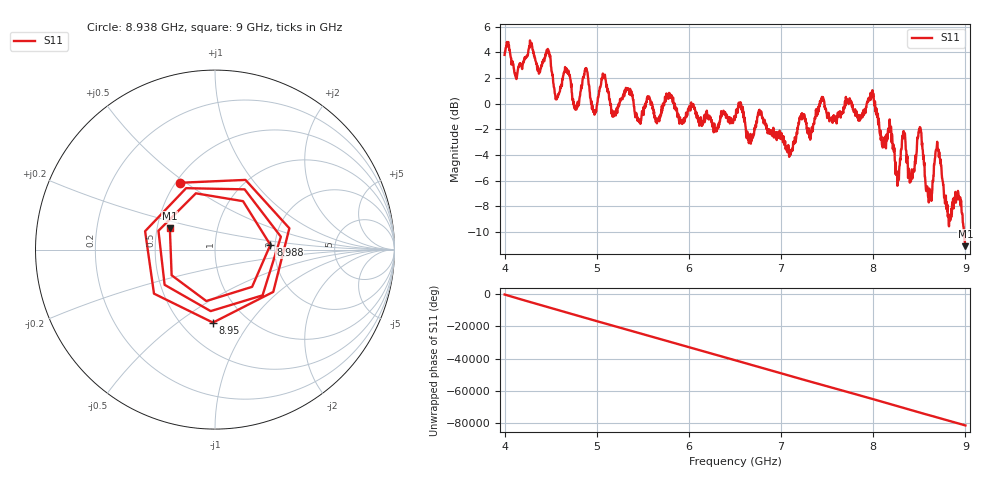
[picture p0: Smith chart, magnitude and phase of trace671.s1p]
! Created with skrf 1.8.0 (http://scikit-rf.org).
# Hz S RI R 50.0
!freq ReS11 ImS11
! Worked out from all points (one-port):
!   1601 points, 4 GHz to 9 GHz, reference 50 ohm
!   lowest |S11| = -11.1 dB at 9 GHz (marker M1), VSWR 1.77, Z = 29.2 + j7.55 ohm
!   |S11| at or under -10 dB: 8.983292 GHz to end of sweep
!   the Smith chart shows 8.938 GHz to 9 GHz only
!   S11 on the Smith chart (normalised r, x): 8.938 GHz: 0.53, +0.48; 8.95 GHz: 0.70, -0.68; 8.988 GHz: 1.89, +0.11; 9 GHz: 0.58, +0.15
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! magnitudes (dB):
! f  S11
! 4 GHz  3.8
! 4.122 GHz  2.1
! 4.469 GHz  4.2
! 4.559 GHz  0.4
! 4.625 GHz  1.9
! 4.778 GHz  -0.4
! 4.878 GHz  2.7
! 4.972 GHz  -0.5
! 5.075 GHz  2.1
! 5.25 GHz  0.1
! 5.875 GHz  -1.0
! 6.5 GHz  -1.0
! 7.125 GHz  -3.6
! 7.441 GHz  0.4
! 7.75 GHz  0.3
! 7.988 GHz  0.7
! 8.259 GHz  -5.5
! 8.325 GHz  -2.2
! 8.375 GHz  -4.8
! 8.422 GHz  -5.6
! 8.503 GHz  -2.0
! 8.594 GHz  -7.2
! 8.697 GHz  -3.3
! 8.816 GHz  -8.6
! 8.938 GHz  -7.5
! 8.95 GHz  -7.8
! 8.988 GHz  -10.2
! 9 GHz  -11.1
